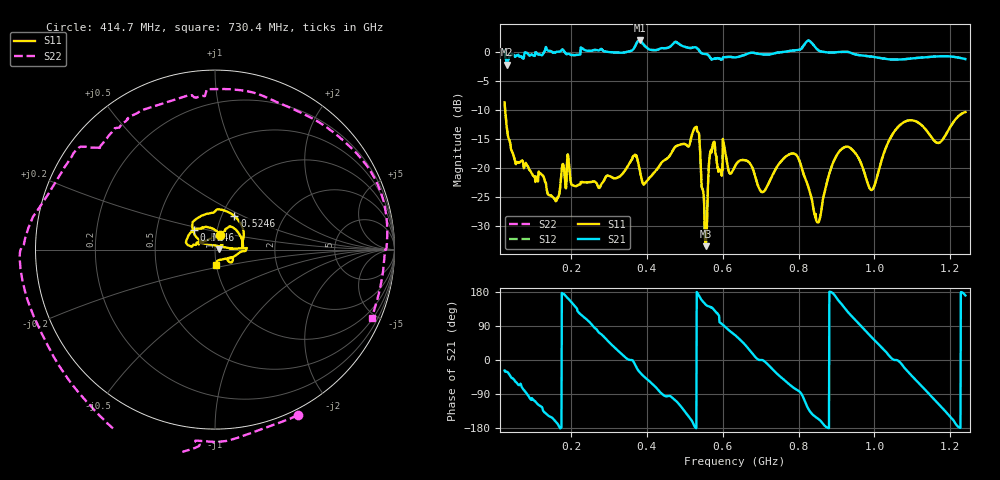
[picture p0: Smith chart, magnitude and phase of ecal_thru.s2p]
!Created with skrf (http://scikit-rf.org).
# Hz S RI R 50.0
!freq ReS11 ImS11 ReS21 ImS21 ReS12 ImS12 ReS22 ImS22
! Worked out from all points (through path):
!   1217 points, 25 MHz to 1.24 GHz, reference 50 ohm
!   highest |S21| = 1.91 dB at 380.7 MHz (marker M1); lowest = -2.2 dB at 31.99 MHz (marker M2)
!   group delay of S21, straight-line fit = 2.84 ns
!   lowest |S11| = -33.4 dB at 555.6 MHz (marker M3), VSWR 1.04, Z = 52.2 + j0.105 ohm
!   |S11| at or under -10 dB: 26.39 MHz to end of sweep
!   |S22| runs from -2.2 to 1.9 dB; largest |S21 - S12| = 1.4
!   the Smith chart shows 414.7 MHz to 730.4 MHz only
!   S11 on the Smith chart (normalised r, x): 414.7 MHz: 1.04, +0.17; 524.6 MHz: 1.15, +0.45; 574.5 MHz: 0.77, +0.18; 730.4 MHz: 1.00, -0.17
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2.5e7  -0.1209 0.3459  0.9062 -0.4778  -0.1209 0.3459  0.9062 -0.4778
3.199e7  -0.0419 0.2035  0.6572 -0.4064  -0.0419 0.2035  0.6572 -0.4064
1.1193e8  0.0639 0.0514  -0.4209 -0.8536  0.0639 0.0514  -0.4209 -0.8536
1.7488e8  -0.000795 0.0911  -1.029 -0.0356  -0.000795 0.0911  -1.029 -0.0356
2.2784e8  0.0489 0.0578  -0.5122 0.9454  0.0489 0.0578  -0.5122 0.9454
2.8379e8  0.0285 0.0695  0.4413 0.9232  0.0285 0.0695  0.4413 0.9232
3.8071e8  0.0689 0.0704  1.063 -0.6506  0.0689 0.0704  1.063 -0.6506
4.1468e8  0.0284 0.0828  0.4609 -0.9229  0.0284 0.0828  0.4609 -0.9229
4.3067e8  0.0374 0.0939  0.1823 -1.029  0.0374 0.0939  0.1823 -1.029
4.7863e8  0.0847 0.1288  -0.4038 -1.134  0.0847 0.1288  -0.4038 -1.134
5.2459e8  0.1079 0.1871  -1.079 -0.1367  0.1079 0.1871  -1.079 -0.1367
5.5557e8  0.0213 0.00101  -0.7892 0.5358  0.0213 0.00101  -0.7892 0.5358
5.7455e8  -0.1181 0.1106  -0.6155 0.6034  -0.1181 0.1106  -0.6155 0.6034
6.3251e8  0.0787 -0.0676  0.3648 0.8132  0.0787 -0.0676  0.3648 0.8132
7.3043e8  0.00805 -0.085  0.8738 -0.3799  0.00805 -0.085  0.8738 -0.3799
8.0237e8  0.0892 -0.0729  0.1281 -1.03  0.0892 -0.0729  0.1281 -1.03
8.3534e8  0.0122 -0.0521  -0.9321 -0.7264  0.0122 -0.0521  -0.9321 -0.7264
9.4226e8  -0.0827 -0.1166  -0.3862 0.8819  -0.0827 -0.1166  -0.3862 0.8819
9.9322e8  -0.0608 -0.0219  0.4594 0.7793  -0.0608 -0.0219  0.4594 0.7793
1.03818e9  -0.1703 -0.0063  0.8401 0.179  -0.1703 -0.0063  0.8401 0.179
1.14509e9  -0.1235 0.15  -0.00534 -0.8995  -0.1235 0.15  -0.00534 -0.8995
1.24001e9  -0.2353 0.1898  -0.8495 0.1461  -0.2353 0.1898  -0.8495 0.1461
